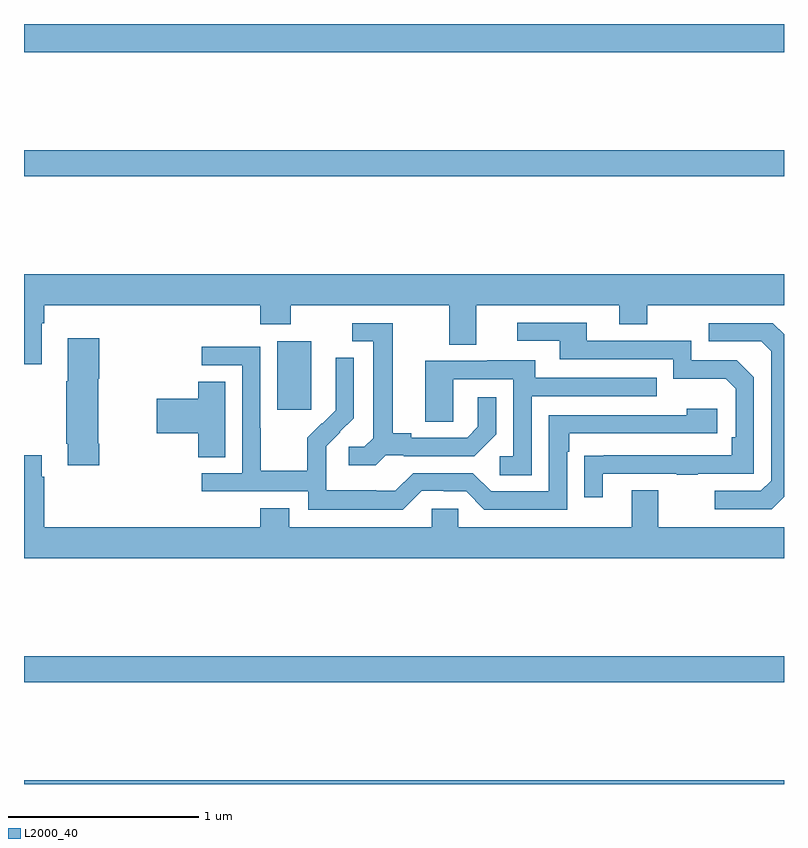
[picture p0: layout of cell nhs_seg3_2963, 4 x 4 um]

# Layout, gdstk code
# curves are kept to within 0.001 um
import gdstk
lib = gdstk.Library(unit=1e-6, precision=1e-09)
def R(c, l, rs):  # rectangles x0, y0, x1, y1
    for r in rs: c.add(gdstk.rectangle(r[:2], r[2:], *l))
def P(c, l, *ps):  # polygons
    for p in ps: c.add(gdstk.Polygon(p, *l))
L2000_40 = (2000, 40)

nhs_seg3_2963 = lib.new_cell('nhs_seg3_2963')
R(nhs_seg3_2963, L2000_40, [(265,694.4,269,694.42), (265,694.936,269,695.072), (266.333,696.369,266.512,696.73), (265,697.6,269,697.736), (265,698.252,269,698.4)])
P(nhs_seg3_2963, L2000_40, [(265.093,696.824),(265.106,696.824),(265.106,696.92),(266.243,696.92),(266.243,696.821),(266.403,696.821),(266.403,696.92),(267.239,696.92),(267.239,696.712),(267.379,696.712),(267.379,696.92),(268.133,696.92),(268.133,696.821),(268.281,696.821),(268.281,696.92),(269,696.92),(269,697.084),(265,697.084),(265,696.609),(265.093,696.609)],
  [(268.045,696.033),(268.435,696.033),(268.435,696.028),(268.547,696.028),(268.547,696.033),(268.842,696.033),(268.842,696.54),(268.752,696.63),(268.512,696.63),(268.512,696.732),(267.961,696.732),(267.961,696.828),(267.597,696.828),(267.597,696.732),(267.821,696.732),(267.821,696.636),(268.416,696.636),(268.416,696.533),(268.693,696.533),(268.746,696.48),(268.746,696.226),(268.726,696.226),(268.726,696.129),(267.949,696.128),(267.949,695.91),(268.045,695.91)],
  [(269,695.912),(269,696.766),(268.941,696.825),(268.605,696.825),(268.605,696.729),(268.881,696.729),(268.932,696.678),(268.932,695.997),(268.878,695.943),(268.635,695.943),(268.635,695.847),(268.935,695.847)],
  [(266.904,696.129),(266.998,696.129),(266.998,696.126),(267.37,696.126),(267.486,696.242),(267.486,696.436),(267.389,696.436),(267.389,696.279),(267.332,696.222),(267.037,696.222),(267.037,696.245),(266.941,696.245),(266.941,696.825),(266.727,696.825),(266.727,696.729),(266.837,696.729),(266.837,696.221),(266.79,696.174),(266.709,696.174),(266.709,696.077),(266.852,696.077)],
  [(265.397,696.19),(265.392,696.19),(265.392,696.532),(265.397,696.532),(265.397,696.745),(265.229,696.745),(265.229,696.521),(265.222,696.521),(265.222,696.19),(265.229,696.19),(265.229,696.078),(265.397,696.078)],
  [(267.093,695.943),(267.209,695.943),(267.209,695.94),(267.327,695.94),(267.423,695.844),(267.858,695.844),(267.858,696.149),(267.871,696.149),(267.871,696.246),(268.648,696.246),(268.648,696.376),(268.487,696.376),(268.487,696.342),(267.762,696.342),(267.762,695.94),(267.459,695.94),(267.363,696.036),(267.048,696.036),(266.955,695.943),(266.855,695.943),(266.855,695.947),(266.592,695.947),(266.592,696.081),(266.59,696.081),(266.59,696.178),(266.736,696.326),(266.736,696.644),(266.64,696.644),(266.64,696.49),(266.642,696.49),(266.642,696.368),(266.571,696.297),(266.568,696.3),(266.491,696.223),(266.491,696.049),(266.247,696.049),(266.247,696.272),(266.244,696.272),(266.244,696.702),(265.935,696.702),(265.935,696.603),(266.148,696.603),(266.148,696.036),(265.935,696.036),(265.935,695.94),(266.496,695.94),(266.496,695.843),(266.993,695.843)],
  [(267.672,696.441),(268.331,696.441),(268.331,696.537),(267.691,696.537),(267.691,696.631),(267.437,696.631),(267.437,696.627),(267.113,696.627),(267.113,696.307),(267.258,696.307),(267.258,696.531),(267.576,696.531),(267.576,696.126),(267.504,696.126),(267.504,696.025),(267.672,696.025)],
  [(266.059,696.518),(265.916,696.518),(265.916,696.428),(265.698,696.428),(265.698,696.245),(265.916,696.245),(265.916,696.121),(266.059,696.121)],
  [(269,695.752),(268.339,695.752),(268.339,695.947),(268.199,695.947),(268.199,695.752),(267.285,695.752),(267.285,695.85),(267.147,695.85),(267.147,695.752),(266.395,695.752),(266.395,695.851),(266.243,695.851),(266.243,695.752),(265.106,695.752),(265.106,696.017),(265.093,696.017),(265.093,696.13),(265,696.13),(265,695.588),(269,695.588)])

lib.write_gds('nhs_seg3_2963.gds')
